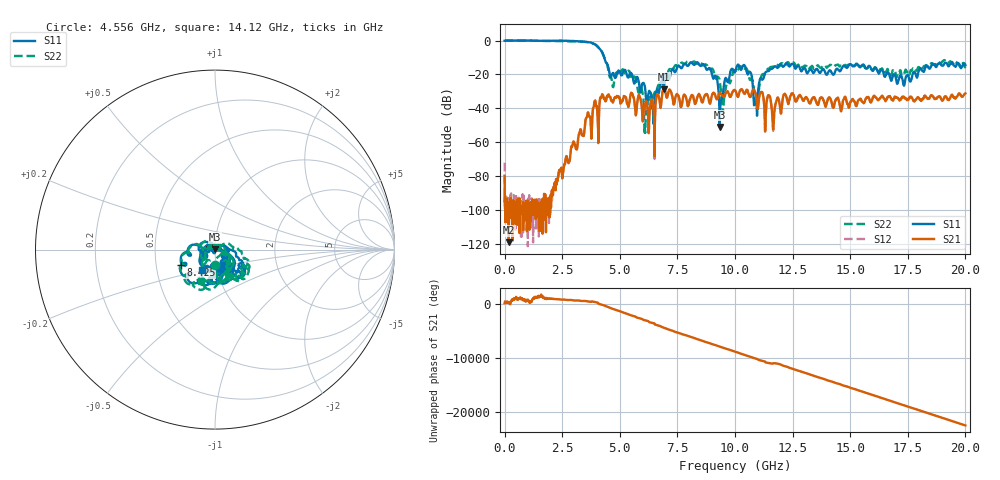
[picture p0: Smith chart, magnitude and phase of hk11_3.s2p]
#  HZ  S  RI  R  50.00
! Rohde & Schwarz Vector Network Analyzer
! Rohde-Schwarz,ZNB20-2Port,1311601062102128,3.60
! Created: UTC 4/29/2024, 3:47:05 PM
! freq[Hz]  re:S11  im:S11  re:S21  im:S21  re:S12  im:S12  re:S22  im:S22
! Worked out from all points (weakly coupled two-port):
!   2007 points, 100 kHz to 20 GHz, reference 50 ohm
!   highest |S21| = -28.70 dB at 6.909 GHz (marker M1); lowest = -119.2 dB at 179.6 MHz (marker M2)
!   lowest |S11| = -51.0 dB at 9.332 GHz (marker M3), VSWR 1.01, Z = 49.8 + j0.212 ohm
!   |S11| at or under -10 dB: 4.326 GHz to end of sweep
!   |S22| runs from -55.6 to 0.1 dB; largest |S21 - S12| = 0.002
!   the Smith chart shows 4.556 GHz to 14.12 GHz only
!   S11 on the Smith chart (normalised r, x): 4.556 GHz: 1.04, -0.21; 8.425 GHz: 0.67, -0.12; 14.12 GHz: 0.85, -0.19
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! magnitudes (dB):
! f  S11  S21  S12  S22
! 100 kHz  0.0  -79.9  -72.2  0.1
! 179.6 MHz  0.0  -119.2  -102.9  0.0
! 2.233 GHz  0.0  -81.9  -83.7  -0.3
! 3.34 GHz  -0.6  -55.3  -55.0  -0.6
! 4.118 GHz  -4.7  -37.1  -37.3  -4.6
! 4.556 GHz  -19.5  -33.0  -32.9  -21.3
! 5.633 GHz  -25.4  -35.9  -36.0  -21.3
! 6.122 GHz  -31.4  -36.3  -36.4  -46.4
! 6.67 GHz  -30.1  -32.0  -31.9  -26.2
! 6.909 GHz  -26.5  -28.7  -28.8  -20.2
! 8.425 GHz  -13.6  -31.6  -31.6  -13.0
! 9.163 GHz  -20.8  -33.2  -33.3  -22.3
! 9.332 GHz  -51.0  -30.9  -31.0  -23.3
! 9.492 GHz  -29.3  -32.9  -32.9  -40.6
! 10 GHz  -18.6  -29.3  -29.3  -17.7
! 10.66 GHz  -18.6  -33.1  -33.1  -23.3
! 10.9 GHz  -33.9  -31.7  -31.6  -34.0
! 11.67 GHz  -15.9  -51.3  -51.8  -15.4
! 13.34 GHz  -17.9  -34.5  -34.5  -14.9
! 14.12 GHz  -17.6  -33.9  -34.0  -14.3
! 16.67 GHz  -19.1  -32.9  -32.9  -18.9
! 20 GHz  -14.5  -31.2  -31.4  -15.2
